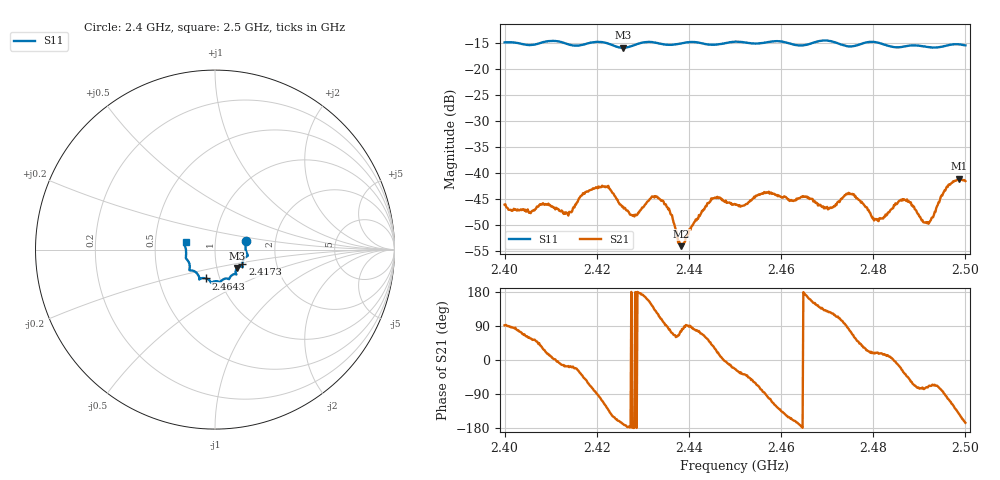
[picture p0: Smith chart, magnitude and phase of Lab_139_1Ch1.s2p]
# Hz S RI R 50
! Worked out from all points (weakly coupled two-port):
!   601 points, 2.4 GHz to 2.5 GHz, reference 50 ohm
!   highest |S21| = -41.03 dB at 2.4987 GHz (marker M1); lowest = -54.0 dB at 2.4383 GHz (marker M2)
!   lowest |S11| = -15.9 dB at 2.4257 GHz (marker M3), VSWR 1.38, Z = 62.5 - j13.2 ohm
!   |S11| at or under -10 dB: start of sweep to end of sweep
!   S12 and S22 are empty: the file has one direction only
!   S11 on the Smith chart (normalised r, x): 2.4 GHz: 1.41, +0.15; 2.4173 GHz: 1.34, -0.23; 2.4643 GHz: 0.86, -0.28; 2.5 GHz: 0.72, +0.06
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2.4e9  0.1734 0.05  -0.000131 0.005  0 0  0 0
2.413333e9  0.1705 -0.042  0.00404 -0.0012  0 0  0 0
2.416667e9  0.1529 -0.0747  0.00476 -0.00382  0 0  0 0
2.417333e9  0.1524 -0.0821  0.0042 -0.00475  0 0  0 0
2.422167e9  0.1508 -0.0942  -0.00432 -0.00604  0 0  0 0
2.425667e9  0.1228 -0.1027  -0.0047 -0.00095  0 0  0 0
2.428333e9  0.1153 -0.1268  -0.00401 8.92e-05  0 0  0 0
2.433333e9  0.1125 -0.1365  -0.00294 0.00495  0 0  0 0
2.435833e9  0.0954 -0.1419  0.000692 0.0043  0 0  0 0
2.438333e9  0.082 -0.1563  0.000507 0.00193  0 0  0 0
2.445167e9  0.0542 -0.1624  0.00455 0.00351  0 0  0 0
2.45e9  0.0294 -0.1809  0.00463 -0.00204  0 0  0 0
2.464333e9  -0.0504 -0.1608  -0.00588 -0.00053  0 0  0 0
2.466667e9  -0.0765 -0.1599  -0.00516 0.00238  0 0  0 0
2.470667e9  -0.0871 -0.1644  -0.00275 0.00381  0 0  0 0
2.475167e9  -0.1082 -0.1248  0.00177 0.00604  0 0  0 0
2.480667e9  -0.1427 -0.1114  0.00343 0.00116  0 0  0 0
2.483333e9  -0.1409 -0.0895  0.00417 0.000737  0 0  0 0
2.486833e9  -0.155 -0.0573  0.00448 -0.00332  0 0  0 0
2.492e9  -0.1607 -0.025  0.00116 -0.00307  0 0  0 0
2.498667e9  -0.1692 0.0343  -0.00708 -0.00536  0 0  0 0
2.5e9  -0.1637 0.0417  -0.00815 -0.0021  0 0  0 0
